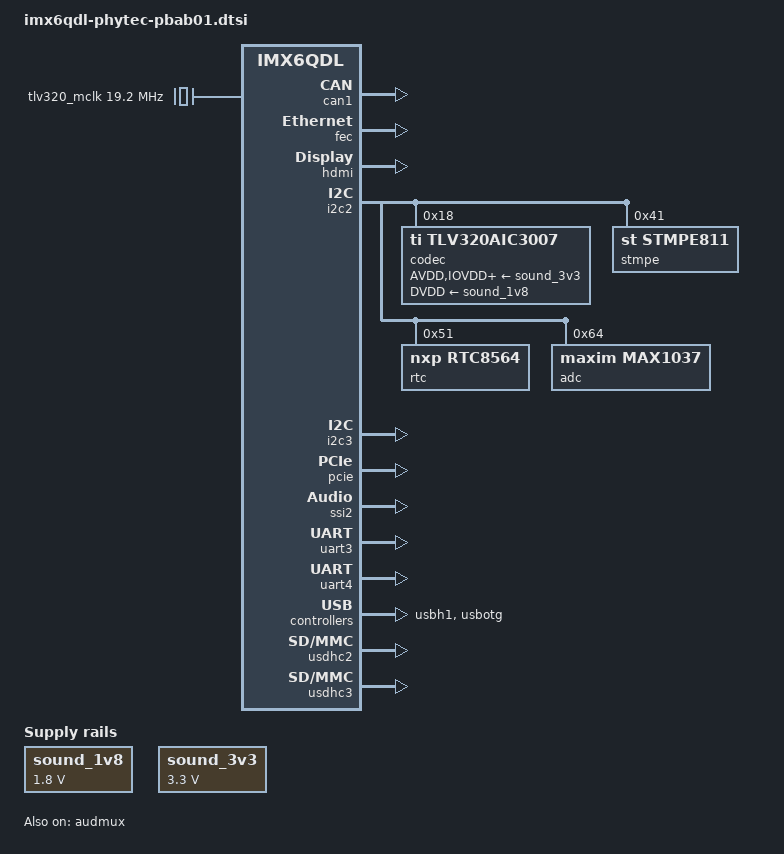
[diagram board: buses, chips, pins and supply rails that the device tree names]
// SPDX-License-Identifier: GPL-2.0-or-later
/*
 * Copyright 2013 Christian Hemp, Phytec Messtechnik GmbH
 */

#include <dt-bindings/sound/fsl-imx-audmux.h>

/ {
	chosen {
		stdout-path = &uart4;
	};

	regulators {
		sound_1v8: regulator@2 {
			compatible = "regulator-fixed";
			reg = <2>;
			regulator-name = "i2s-audio-1v8";
			regulator-min-microvolt = <1800000>;
			regulator-max-microvolt = <1800000>;
		};

		sound_3v3: regulator@3 {
			compatible = "regulator-fixed";
			reg = <3>;
			regulator-name = "i2s-audio-3v3";
			regulator-min-microvolt = <3300000>;
			regulator-max-microvolt = <3300000>;
		};
	};

	tlv320_mclk: oscillator {
		compatible = "fixed-clock";
		#clock-cells = <0>;
		clock-frequency = <19200000>;
		clock-output-names = "tlv320-mclk";
	};

	sound {
		compatible = "simple-audio-card";
		simple-audio-card,name = "OnboardTLV320AIC3007";
		simple-audio-card,format = "i2s";
		simple-audio-card,bitclock-master = <&dailink_master>;
		simple-audio-card,frame-master = <&dailink_master>;
		simple-audio-card,widgets =
			"Microphone", "Mic Jack",
			"Line", "Line In",
			"Line", "Line Out",
			"Speaker", "Speaker",
			"Headphone", "Headphone Jack";
		simple-audio-card,routing =
			"Line Out", "LLOUT",
			"Line Out", "RLOUT",
			"Speaker", "SPOP",
			"Speaker", "SPOM",
			"Headphone Jack", "HPLOUT",
			"Headphone Jack", "HPROUT",
			"MIC3L", "Mic Jack",
			"MIC3R", "Mic Jack",
			"Mic Jack", "Mic Bias",
			"LINE1L", "Line In",
			"LINE1R", "Line In";

		simple-audio-card,cpu {
			sound-dai = <&ssi2>;
		};

		dailink_master: simple-audio-card,codec {
			sound-dai = <&codec>;
			clocks = <&tlv320_mclk>;
		};
	};

};

&audmux {
	status = "okay";

	ssi2 {
		fsl,audmux-port = <1>;
		fsl,port-config = <
			(IMX_AUDMUX_V2_PTCR_TFSDIR |
			IMX_AUDMUX_V2_PTCR_TFSEL(4) |
			IMX_AUDMUX_V2_PTCR_TCLKDIR |
			IMX_AUDMUX_V2_PTCR_TCSEL(4))
			IMX_AUDMUX_V2_PDCR_RXDSEL(4)
		>;
	};

	pins5 {
		fsl,audmux-port = <4>;
		fsl,port-config = <
			0x00000000
			IMX_AUDMUX_V2_PDCR_RXDSEL(1)
		>;
	};
};

&can1 {
	status = "okay";
};

&fec {
	status = "okay";
};

&hdmi {
	status = "okay";
};

&i2c2 {
	status = "okay";

	codec: tlv320@18 {
		compatible = "ti,tlv320aic3007";
		#sound-dai-cells = <0>;
		reg = <0x18>;
		ai3x-micbias-vg = <2>;

		AVDD-supply = <&sound_3v3>;
		IOVDD-supply = <&sound_3v3>;
		DRVDD-supply = <&sound_3v3>;
		DVDD-supply = <&sound_1v8>;
	};

	stmpe@41 {
		compatible = "st,stmpe811";
		reg = <0x41>;
	};

	rtc@51 {
		compatible = "nxp,rtc8564";
		reg = <0x51>;
	};

	adc@64 {
		compatible = "maxim,max1037";
		reg = <0x64>;
	};
};

&i2c3 {
	status = "okay";
};

&pcie {
	status = "okay";
};

&ssi2 {
	status = "okay";
};

&uart3 {
	status = "okay";
};

&uart4 {
	status = "okay";
};

&usbh1 {
	status = "okay";
};

&usbotg {
	status = "okay";
};

&usdhc2 {
	status = "okay";
};

&usdhc3 {
	status = "okay";
};
